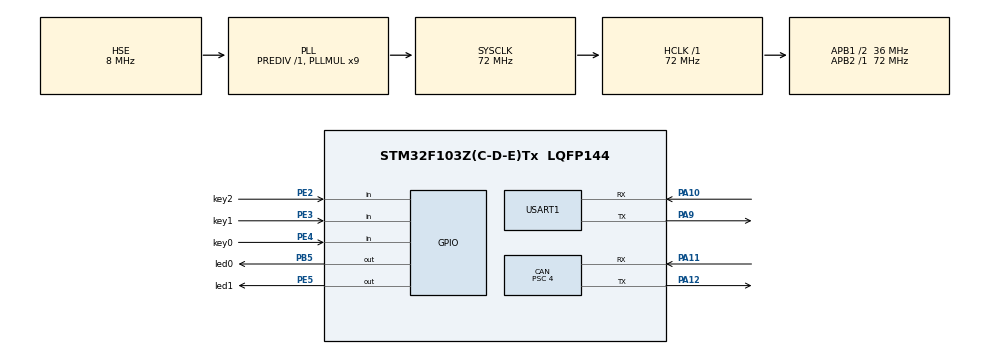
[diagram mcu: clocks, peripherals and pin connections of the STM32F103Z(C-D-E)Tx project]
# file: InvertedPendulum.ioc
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CAN.BS1=CAN_BS1_9TQ
CAN.BS2=CAN_BS2_8TQ
CAN.CalculateBaudRate=500000
CAN.CalculateTimeBit=2000
CAN.CalculateTimeQuantum=111.11111111111111
CAN.Prescaler=4
FREERTOS.Mutexes01=MotorDeviceMutex,Dynamic,NULL
FREERTOS.Tasks01=defaultTask,24,128,StartDefaultTask,Default,NULL,Dynamic,NULL,NULL;stallCheck,8,256,stallCheckTask,Default,NULL,Dynamic,NULL,NULL
FREERTOS.configUSE_NEWLIB_REENTRANT=1
Mcu.Family=STM32F1
Mcu.Name=STM32F103Z(C-D-E)Tx
Mcu.Package=LQFP144
NVIC.PriorityGroup=NVIC_PRIORITYGROUP_4
NVIC.TIM8_UP_IRQn=true\:15\:0\:false\:false\:true\:false\:false\:true\:true
NVIC.TimeBase=TIM8_UP_IRQn
NVIC.TimeBaseIP=TIM8
NVIC.USART1_IRQn=true\:5\:0\:false\:false\:true\:true\:true\:true\:true
NVIC.USB_LP_CAN1_RX0_IRQn=true\:5\:0\:false\:false\:true\:true\:true\:true\:true
OSC_IN.Mode=HSE-External-Oscillator
OSC_IN.Signal=RCC_OSC_IN
OSC_OUT.Mode=HSE-External-Oscillator
OSC_OUT.Signal=RCC_OSC_OUT
PA10.Mode=Asynchronous
PA10.Signal=USART1_RX
PA11.Mode=CAN_Activate
PA11.Signal=CAN_RX
PA12.Mode=CAN_Activate
PA12.Signal=CAN_TX
PA13.Mode=Serial_Wire
PA13.Signal=SYS_JTMS-SWDIO
PA14.Mode=Serial_Wire
PA14.Signal=SYS_JTCK-SWCLK
PA9.Mode=Asynchronous
PA9.Signal=USART1_TX
PB5.GPIO_Label=led0
PB5.Signal=GPIO_Output
PC14-OSC32_IN.Mode=LSE-External-Oscillator
PC14-OSC32_IN.Signal=RCC_OSC32_IN
PC15-OSC32_OUT.Mode=LSE-External-Oscillator
PC15-OSC32_OUT.Signal=RCC_OSC32_OUT
PE2.GPIO_Label=key2
PE2.GPIO_PuPd=GPIO_PULLUP
PE2.Signal=GPIO_Input
PE3.GPIO_Label=key1
PE3.GPIO_PuPd=GPIO_PULLUP
PE3.Signal=GPIO_Input
PE4.GPIO_Label=key0
PE4.GPIO_PuPd=GPIO_PULLUP
PE4.Signal=GPIO_Input
PE5.GPIO_Label=led1
PE5.Signal=GPIO_Output
ProjectManager.HeapSize=0x200
ProjectManager.StackSize=0x400
ProjectManager.TargetToolchain=STM32CubeIDE
RCC.AHBFreq_Value=72000000
RCC.APB1CLKDivider=RCC_HCLK_DIV2
RCC.APB1Freq_Value=36000000
RCC.APB1TimFreq_Value=72000000
RCC.APB2Freq_Value=72000000
RCC.APB2TimFreq_Value=72000000
RCC.HCLKFreq_Value=72000000
RCC.PLLMUL=RCC_PLL_MUL9
RCC.PLLSourceVirtual=RCC_PLLSOURCE_HSE
RCC.SYSCLKFreq_VALUE=72000000
RCC.SYSCLKSource=RCC_SYSCLKSOURCE_PLLCLK
RCC.USBFreq_Value=72000000
USART1.VirtualMode=VM_ASYNC
VP_FREERTOS_VS_CMSIS_V2.Mode=CMSIS_V2
VP_SYS_VS_tim8.Mode=TIM8
board=custom

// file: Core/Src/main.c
/* USER CODE BEGIN Header */
/**
  ******************************************************************************
  * @file           : main.c
  * @brief          : Main program body
  ******************************************************************************
  * @attention
  *
  * Copyright (c) 2024 STMicroelectronics.
  * All rights reserved.
  *
  * This software is licensed under terms that can be found in the LICENSE file
  * in the root directory of this software component.
  * If no LICENSE file comes with this software, it is provided AS-IS.
  *
  ******************************************************************************
  */
/* USER CODE END Header */
#include "main.h"
#include "cmsis_os.h"
#include "can.h"
#include "usart.h"
#include "gpio.h"

/* USER CODE BEGIN PV */
stepmotor_device_t motor0= {
		  .device_id = motor0CanAddress,
		  .position = 0,
		  .target_position = 0,
		  .speed = 0};
/* USER CODE END PV */

void SystemClock_Config(void);
void MX_FREERTOS_Init(void);

int main(void)
{

  /* MCU Configuration--------------------------------------------------------*/

  /* Reset of all peripherals, Initializes the Flash interface and the Systick. */
  HAL_Init();

  /* Configure the system clock */
  SystemClock_Config();

  /* Initialize all configured peripherals */
  MX_GPIO_Init();
  MX_CAN_Init();
  MX_USART1_UART_Init();

  /* Init scheduler */
  osKernelInitialize();

  /* Call init function for freertos objects (in cmsis_os2.c) */
  MX_FREERTOS_Init();

  /* Start scheduler */
  osKernelStart();

  /* We should never get here as control is now taken by the scheduler */

  /* Infinite loop */
  while (1)
  {

  }
}

void SystemClock_Config(void)
{
  RCC_OscInitTypeDef RCC_OscInitStruct = {0};
  RCC_ClkInitTypeDef RCC_ClkInitStruct = {0};

  /** Initializes the RCC Oscillators according to the specified parameters
  * in the RCC_OscInitTypeDef structure.
  */
  RCC_OscInitStruct.OscillatorType = RCC_OSCILLATORTYPE_HSE;
  RCC_OscInitStruct.HSEState = RCC_HSE_ON;
  RCC_OscInitStruct.HSEPredivValue = RCC_HSE_PREDIV_DIV1;
  RCC_OscInitStruct.HSIState = RCC_HSI_ON;
  RCC_OscInitStruct.PLL.PLLState = RCC_PLL_ON;
  RCC_OscInitStruct.PLL.PLLSource = RCC_PLLSOURCE_HSE;
  RCC_OscInitStruct.PLL.PLLMUL = RCC_PLL_MUL9;
  if (HAL_RCC_OscConfig(&RCC_OscInitStruct) != HAL_OK)
  {
    Error_Handler();
  }

  /** Initializes the CPU, AHB and APB buses clocks
  */
  RCC_ClkInitStruct.ClockType = RCC_CLOCKTYPE_HCLK|RCC_CLOCKTYPE_SYSCLK
                              |RCC_CLOCKTYPE_PCLK1|RCC_CLOCKTYPE_PCLK2;
  RCC_ClkInitStruct.SYSCLKSource = RCC_SYSCLKSOURCE_PLLCLK;
  RCC_ClkInitStruct.AHBCLKDivider = RCC_SYSCLK_DIV1;
  RCC_ClkInitStruct.APB1CLKDivider = RCC_HCLK_DIV2;
  RCC_ClkInitStruct.APB2CLKDivider = RCC_HCLK_DIV1;

  if (HAL_RCC_ClockConfig(&RCC_ClkInitStruct, FLASH_LATENCY_2) != HAL_OK)
  {
    Error_Handler();
  }
}

void HAL_TIM_PeriodElapsedCallback(TIM_HandleTypeDef *htim)
{
  if (htim->Instance == TIM8) {
    HAL_IncTick();
  }
}

void Error_Handler(void)
{
  __disable_irq();
  while (1)
  {
  }
}

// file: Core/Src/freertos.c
/* USER CODE BEGIN Header */
/**
  ******************************************************************************
  * File Name          : freertos.c
  * Description        : Code for freertos applications
  ******************************************************************************
  * @attention
  *
  * Copyright (c) 2024 STMicroelectronics.
  * All rights reserved.
  *
  * This software is licensed under terms that can be found in the LICENSE file
  * in the root directory of this software component.
  * If no LICENSE file comes with this software, it is provided AS-IS.
  *
  ******************************************************************************
  */
/* USER CODE END Header */

#include "FreeRTOS.h"
#include "task.h"
#include "main.h"
#include "cmsis_os.h"

/* USER CODE BEGIN PM */
	int taskStatus = 0;
/* USER CODE END PM */

/* USER CODE BEGIN Variables */
uint8_t u_buf[256];
/* USER CODE END Variables */
/* Definitions for defaultTask */
osThreadId_t defaultTaskHandle;
const osThreadAttr_t defaultTask_attributes = {
  .name = "defaultTask",
  .stack_size = 256 * 4,
  .priority = (osPriority_t) osPriorityNormal,
};
/* Definitions for stallCheck */
osThreadId_t stallCheckHandle;
const osThreadAttr_t stallCheck_attributes = {
  .name = "stallCheck",
  .stack_size = 256 * 4,
  .priority = (osPriority_t) osPriorityLow,
};
/* Definitions for MotorDeviceMutex */
osMutexId_t MotorDeviceMutexHandle;
const osMutexAttr_t MotorDeviceMutex_attributes = {
  .name = "MotorDeviceMutex"
};

void StartDefaultTask(void *argument);
void stallCheckTask(void *argument);

void MX_FREERTOS_Init(void); /* (MISRA C 2004 rule 8.1) */

void MX_FREERTOS_Init(void) {
  /* Create the mutex(es) */
  /* creation of MotorDeviceMutex */
  MotorDeviceMutexHandle = osMutexNew(&MotorDeviceMutex_attributes);

  /* Create the thread(s) */
  /* creation of defaultTask */
  defaultTaskHandle = osThreadNew(StartDefaultTask, NULL, &defaultTask_attributes);

  /* creation of stallCheck */
  stallCheckHandle = osThreadNew(stallCheckTask, NULL, &stallCheck_attributes);

}

void StartDefaultTask(void *argument)
{
  /* USER CODE BEGIN StartDefaultTask */

  /* Infinite loop */
  for(;;)
  {

	  vTaskDelay(pdMS_TO_TICKS(50));
  }
  /* USER CODE END StartDefaultTask */
}

void stallCheckTask(void *argument)
{
  /* USER CODE BEGIN stallCheckTask */

  /* Infinite loop */
  for(;;)
  {

	  	  emmV5ReadSysParams(&motor0,S_Conf);
	  	vTaskDelay(pdMS_TO_TICKS(5000));
	  	  if(emmV5ReadSysParams(&motor0,S_FLAG) == SDK_OK)
	  	  {
	  		printf("ReadSysParams success~ \n");
	  	  }
		  while( motor0.status.SM_STALLPRO == 0)
		  {
			  if(emmV5EnControl(&motor0, 1, 0) == SDK_OK)
			  {
				  printf("emmV5EnControl success~ \n");
			  }
			  if(emmV5PosControl(&motor0,0,500,200,railLength,0,0) == SDK_OK)
			  {
			  		printf("emmV5PosControl success~ \n");
			  }
			  vTaskDelay(pdMS_TO_TICKS(5000));

		  	  if(emmV5ReadSysParams(&motor0,S_FLAG) == SDK_OK)
		  	  {
		  		printf("ReadSysParams success~ \n");
		  	  }

		  }
		  if(emmV5ClearStallPro(&motor0) == SDK_OK)
		  {
			  printf("emmV5ClearStallPro success~ \n");
		  }
		  if(emmV5EnControl(&motor0, 0, 0) == SDK_OK)
		  {
			  printf("emmV5DisControl success~ \n");
		  }

		  emmV5ReadSysParams(&motor0,S_FLAG);
  	  	  if( motor0.status.SM_EN == 0){
  	  		 	  	  emmV5EnControl(&motor0, 1, 0);
  	  		  		  emmV5PosControl(&motor0,1,1500,200,railLength/2,0,0);
  	  		  	vTaskDelay(pdMS_TO_TICKS(5000));
  		  }
  	  	  vTaskDelete(NULL);
	  vTaskDelay(pdMS_TO_TICKS(50));
  }
  /* USER CODE END stallCheckTask */
}
